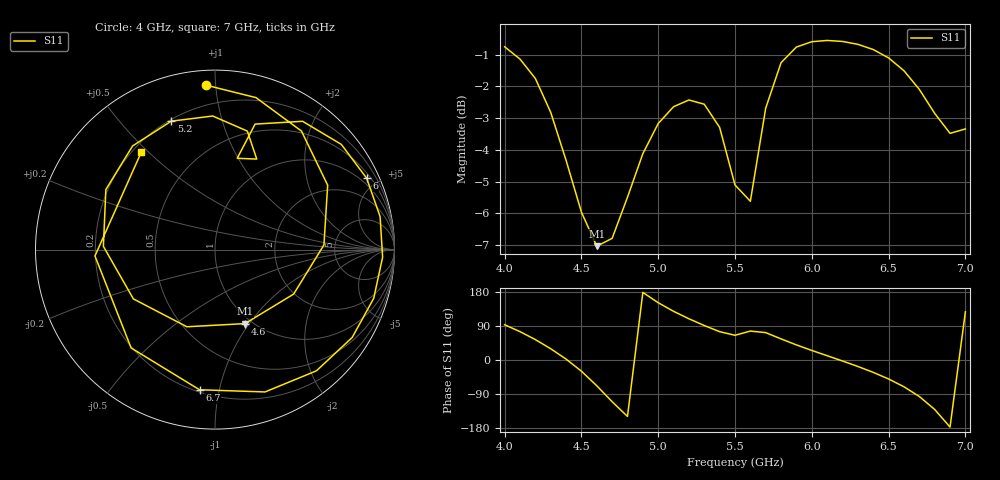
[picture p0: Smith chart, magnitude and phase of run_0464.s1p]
! Touchstone file exported from HFSS 2024.2.0
!  File:  C:/Users/wsak9/Desktop/Sim Fast/Widenad Patch/WP_AI_V1_sweep.aedt
!  Generated:  11:15:47 AM Oct 14, 2026
!  Design:  A1_model
!  Project:  WP_AI_V1_sweep
!  Setup:  Setup1
!  Solution:  Sweep
! Variables:
!  Air_gap = 3.57mm
!  Curve_Amp1 = 2.84
!  Curve_len1 = 1
!  Curve_pos = 11.03mm
!  Extra = 4.07mm
!  H_sub = 0.79mm
!  L_Patch = 18.06mm
!  L_Patch1 = 18.94mm
!  Sx = 2.89mm
!  Sy = 3.28mm
!  WS = 0.55mm
!  W_Patch = 21.39mm
!  W_Patch1 = 14.87mm
!Data is not renormalized
# GHz S MA
! Terminal data exported
! Port[1] = 1
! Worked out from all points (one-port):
!   31 points, 4 GHz to 7 GHz, reference per port
!   lowest |S11| = -7.0 dB at 4.6 GHz (marker M1), VSWR 2.60
!   |S11| at or under -10 dB: nowhere
!   S11 on the Smith chart (normalised r, x): 4 GHz: 0.08, +0.95; 4.6 GHz: 0.93, -0.95; 5.2 GHz: 0.21, +0.69; 6 GHz: 0.70, +4.36; 6.7 GHz: 0.21, -0.87; 7 GHz: 0.23, +0.48
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4  0.9169 93.0
4.1  0.877 74.9
4.2  0.8174 53.9
4.3  0.7231 29.8
4.4  0.6076 2.5
4.5  0.5034 -29.5
4.6  0.4449 -67.9
4.7  0.4576 -110.0
4.8  0.5312 -148.9
4.9  0.6221 178.3
5  0.6941 151.2
5.2  0.7559 108.8
5.3  0.7444 91.0
5.4  0.6844 74.8
5.5  0.5554 65.2
5.6  0.5236 76.3
5.7  0.734 72.3
5.8  0.8655 55.7
5.9  0.916 39.8
6  0.9339 25.2
6.2  0.9348 -2.6
6.3  0.925 -17.1
6.5  0.8806 -50.1
6.6  0.8406 -70.6
6.7  0.7857 -96.3
6.8  0.7202 -130.5
6.9  0.6698 -177.0
7  0.6806 127.1
